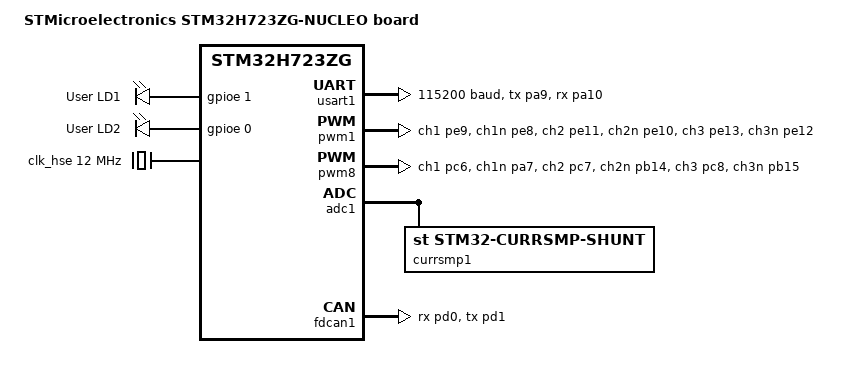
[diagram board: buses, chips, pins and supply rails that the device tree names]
/*
 * Copyright (c) 2020 Alexander Kozhinov <ak.alexander.kozhinov@gmail.com>
 * SPDX-License-Identifier: Apache-2.0
 */

/dts-v1/;
#include <st/h7/stm32h723Xg.dtsi>
#include <st/h7/stm32h723vgtx-pinctrl.dtsi>

/*
 * WARNING:
 * JP6 and SB72 must be ON when using Ethernet.
 */

/ {
	model = "STMicroelectronics STM32H723ZG-NUCLEO board";
	compatible = "st,stm32h723zg-nucleo";

	chosen {
		zephyr,console = &usart1;
		zephyr,shell-uart = &usart1;
		zephyr,dtcm = &dtcm;
		zephyr,sram = &sram0;
		zephyr,flash = &flash0;
		zephyr,canbus = &fdcan1;
	};

	leds: leds {
		compatible = "gpio-leds";
		green_led: led_0 {
			gpios = <&gpioe 1 GPIO_ACTIVE_HIGH>;
			label = "User LD1";
		};
		yellow_led: led_1 {
			gpios = <&gpioe 0 GPIO_ACTIVE_HIGH>;
			label = "User LD2";
		};
	};

	aliases {
		led0 = &green_led;
		led1 = &yellow_led;
	};

    motors {
        motor0: motor_0 {
            compatible = "bldc-motor";
            pwm = <&pwm1>;
        };
        motor1: motor_1 {
            compatible = "bldc-motor";
            pwm = <&pwm8>;
        };
    };
	control_algorithm {
		foc1:ctrl_algo1{
			compatible = "foc-ctrl-algo";
			modulate = <1>;
		};
		foc2:ctrl_algo2{
			compatible = "foc-ctrl-algo";
			modulate = <1>;
		};
	};
};

&clk_lsi {
	status = "okay";
};

&clk_hsi48 {
	status = "okay";
};

&clk_hse {
	clock-frequency = <DT_FREQ_M(12)>; /* STLink 12MHz clock */
	status = "okay";
};

&clk_lse {
	status = "disabled";
};

&pll {
	div-m = <6>;
	mul-n = <275>;
	div-p = <1>;
	div-q = <4>;
	div-r = <2>;
	clocks = <&clk_hse>;
	status = "okay";
};

&pll2 {
	div-m = <1>;
	mul-n = <10>;
	div-p = <1>;
	div-q = <1>;
	div-r = <1>;
	clocks = <&clk_hse>;
	status = "okay";
};

&rcc {
	clocks = <&pll>;
	clock-frequency = <DT_FREQ_M(550)>;
	d1cpre = <1>;
	hpre = <2>;    /* HCLK: 275   MHz */
	d1ppre = <2>;  /* APB1: 137.5 MHz */
	d2ppre1 = <2>; /* APB2: 137.5 MHz */
	d2ppre2 = <2>; /* APB3: 137.5 MHz */
	d3ppre = <2>;  /* APB4: 137.5 MHz */
};


&usart1 {
	pinctrl-0 = <&usart1_tx_pa9 &usart1_rx_pa10>;
	pinctrl-names = "default";
	current-speed = <115200>;
	status = "okay";
};

&timers1 {
    pwm1: pwm {
        compatible = "st,stm32-pwm-custom";
        pinctrl-0 = <&tim1_ch1_pe9  &tim1_ch1n_pe8
                    &tim1_ch2_pe11 &tim1_ch2n_pe10
                    &tim1_ch3_pe13 &tim1_ch3n_pe12>;
        pinctrl-names = "default";
        timing-params = <50 13750 0>;  // t_dead_ns, arr, psc
        slave = <0>;
        status = "okay";
    };
};

&timers8 {
    pwm8: pwm {
        compatible = "st,stm32-pwm-custom";
        pinctrl-0 = <&tim8_ch1_pc6 &tim8_ch1n_pa7
                    &tim8_ch2_pc7 &tim8_ch2n_pb14
                    &tim8_ch3_pc8 &tim8_ch3n_pb15>;
        pinctrl-names = "default";
        timing-params = <50 13750 0>;  // t_dead_ns, arr, psc
        slave = <1>;
        status = "okay";
    };
};
&adc1 {
	currsmp1: currsmp {
		compatible = "st,stm32-currsmp-shunt";
		pinctrl-0 = <&adc1_inp16_pa0  &adc1_inp17_pa1 &adc1_inp14_pa2>;
		pinctrl-names = "default";
		adc-channels = <16 17 14>;
		adc-slave = <0>;
		status = "okay";
	};
};



&backup_sram {
	status = "okay";
};

&fdcan1 {
	pinctrl-0 = <&fdcan1_rx_pd0 &fdcan1_tx_pd1>;
	pinctrl-names = "default";
	clocks = <&rcc STM32_CLOCK_BUS_APB1_2 0x00000100>,
		 <&rcc STM32_SRC_PLL2_Q FDCAN_SEL(2)>;
	status = "okay";
};
